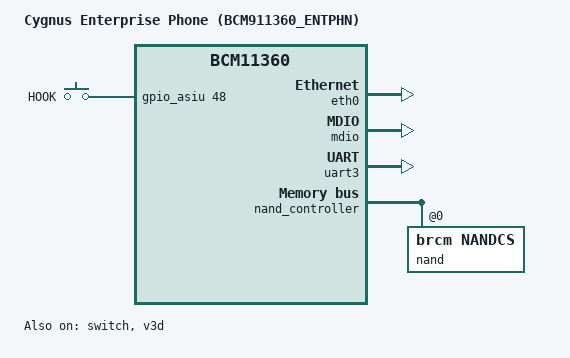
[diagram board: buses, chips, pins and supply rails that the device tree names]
/dts-v1/;
#include "bcm-cygnus.dtsi"
#include "dt-bindings/input/input.h"
/ {
	model = "Cygnus Enterprise Phone (BCM911360_ENTPHN)";
	compatible = "brcm,bcm11360", "brcm,cygnus";
	aliases {
		serial0 = &uart3;
	};
	chosen {
		stdout-path = "serial0:115200n8";
	};
	gpio-keys {
		compatible = "gpio-keys";
		button-hook {
			label = "HOOK";
			linux,code = <KEY_O>;
			gpios = <&gpio_asiu 48 0>;
		};
	};
};
&eth0 {
	status = "okay";
};
&mdio {
	status = "okay";
};
&switch {
	status = "okay";
};
&v3d {
	assigned-clocks =
		<&mipipll BCM_CYGNUS_MIPIPLL>,
		<&mipipll BCM_CYGNUS_MIPIPLL_CH2_V3D>;
	assigned-clock-rates = <525000000>, <300000000>;
	status = "okay";
};
&uart3 {
	status = "okay";
};
&nand_controller {
	nand@1 {
		compatible = "brcm,nandcs";
		reg = <0>;
		nand-on-flash-bbt;
		#address-cells = <1>;
		#size-cells = <1>;
		nand-ecc-strength = <24>;
		nand-ecc-step-size = <1024>;
		brcm,nand-oob-sector-size = <27>;
	};
};
